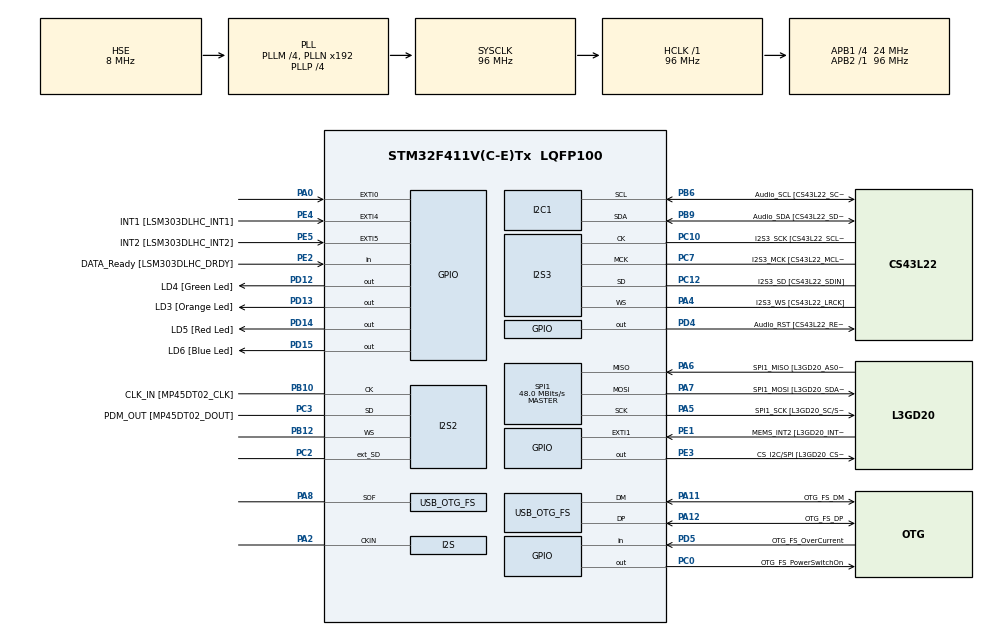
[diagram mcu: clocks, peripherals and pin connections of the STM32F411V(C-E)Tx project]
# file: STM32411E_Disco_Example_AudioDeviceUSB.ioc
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Dma.SPI3_TX.0.FIFOMode=DMA_FIFOMODE_DISABLE
Dma.SPI3_TX.0.Priority=DMA_PRIORITY_HIGH
PD12.GPIO_Label=LD4 [Green Led]
PC10.GPIO_PuPd=GPIO_NOPULL
SPI1.VirtualType=VM_MASTER
PB10.Mode=Full_Duplex_Master
PC12.Signal=I2S3_SD
PA14.GPIO_Label=SWCLK
PA6.GPIO_Label=SPI1_MISO [L3GD20_AS0/SDO]
PB6.GPIO_Label=Audio_SCL [CS43L22_SCL]
I2S2.CPOL=I2S_CPOL_HIGH
Dma.SPI2_RX.1.Mode=DMA_CIRCULAR
PC15-OSC32_OUT.GPIO_Label=PC15-OSC32_OUT
RCC.SYSCLKSource=RCC_SYSCLKSOURCE_PLLCLK
Dma.SPI2_RX.1.PeriphDataAlignment=DMA_PDATAALIGN_HALFWORD
PD14.GPIO_Speed=GPIO_SPEED_FREQ_LOW
PA4.Mode=Half_Duplex_Master
SPI1.Direction=SPI_DIRECTION_2LINES
USB_DEVICE.USBD_MAX_NUM_INTERFACES=2
PD4.Signal=GPIO_Output
RCC.APB2TimFreq_Value=96000000
PB6.Signal=I2C1_SCL
PC7.Signal=I2S3_MCK
PB6.Mode=I2C
SPI1.CalculateBaudRate=48.0 MBits/s
PC3.Signal=I2S2_SD
PE5.Signal=GPXTI5
PE1.Signal=GPXTI1
Dma.SPI3_TX.0.Direction=DMA_MEMORY_TO_PERIPH
I2S3.ErrorAudioFreq=0.15 %
Dma.SPI2_RX.1.FIFOMode=DMA_FIFOMODE_DISABLE
PE4.GPIO_Label=INT1 [LSM303DLHC_INT1]
PE2.Signal=GPIO_Input
PD14.GPIO_PuPd=GPIO_NOPULL
PA8.Signal=USB_OTG_FS_SOF
Mcu.Package=LQFP100
PB9.Signal=I2C1_SDA
PD12.Signal=GPIO_Output
PB9.GPIO_PuPd=GPIO_NOPULL
PA10.Signal=USB_OTG_FS_ID
Dma.SPI2_RX.1.Instance=DMA1_Stream3
RCC.APB1TimFreq_Value=48000000
PC12.GPIO_PuPd=GPIO_NOPULL
PA4.GPIO_Label=I2S3_WS [CS43L22_LRCK]
PD15.Signal=GPIO_Output
PC0.PinState=GPIO_PIN_SET
PA5.Mode=Full_Duplex_Master
I2S2.AudioFreq=I2S_AUDIOFREQ_16K
I2S3.FullDuplexMode=I2S_FULLDUPLEXMODE_DISABLE
PA9.GPIO_Label=VBUS_FS
PB6.GPIO_PuPd=GPIO_NOPULL
PH1\ -\ OSC_OUT.Mode=HSE-External-Oscillator
PC2.Signal=I2S2_ext_SD
PA11.GPIO_Label=OTG_FS_DM
PC0.Signal=GPIO_Output
RCC.APB1CLKDivider=RCC_HCLK_DIV4
PC14-OSC32_IN.Signal=RCC_OSC32_IN
PA0-WKUP.GPIO_ModeDefaultEXTI=GPIO_MODE_EVT_RISING
PA0-WKUP.Signal=GPXTI0
PC10.GPIO_Mode=GPIO_MODE_AF_PP
PE5.GPIO_ModeDefaultEXTI=GPIO_MODE_EVT_RISING
PA9.Signal=USB_OTG_FS_VBUS
I2S2.VirtualMode=I2S_MODE_MASTER
I2S3.VirtualMode=I2S_MODE_MASTER
Dma.SPI3_TX.0.PeriphInc=DMA_PINC_DISABLE
PC7.GPIO_PuPd=GPIO_NOPULL
PB10.Signal=I2S2_CK
PA5.Signal=SPI1_SCK
I2S3.AudioFreq=I2S_AUDIOFREQ_48K
PC12.Mode=Half_Duplex_Master
PH1\ -\ OSC_OUT.Signal=RCC_OSC_OUT
PE1.GPIO_Label=MEMS_INT2 [L3GD20_INT2]
SPI1.Mode=SPI_MODE_MASTER
Dma.SPI3_TX.0.Instance=DMA1_Stream5
PA13.Mode=Serial_Wire
I2S2.FullDuplexMode=I2S_FULLDUPLEXMODE_ENABLE
PC7.GPIO_Label=I2S3_MCK [CS43L22_MCLK]
PA4.Signal=I2S3_WS
PC12.GPIO_Mode=GPIO_MODE_AF_PP
PA5.GPIO_Label=SPI1_SCK [L3GD20_SC/SPC]
Dma.SPI3_TX.0.Mode=DMA_NORMAL
PE5.GPIO_Label=INT2 [LSM303DLHC_INT2]
PC12.GPIO_Label=I2S3_SD [CS43L22_SDIN]
PA11.Signal=USB_OTG_FS_DM
ProjectManager.HeapSize=0x200
NVIC.PriorityGroup=NVIC_PRIORITYGROUP_0
PE3.Signal=GPIO_Output
PC3.GPIO_Label=PDM_OUT [MP45DT02_DOUT]
PA8.Mode=Activate_SOF_FS
I2S3.Instance=SPI$Index
PB6.GPIO_Speed=GPIO_SPEED_FREQ_LOW
Dma.SPI2_RX.1.MemInc=DMA_MINC_ENABLE
Mcu.Family=STM32F4
PC3.Mode=Full_Duplex_Master
Dma.SPI3_TX.0.MemInc=DMA_MINC_ENABLE
PA6.Mode=Full_Duplex_Master
USB_DEVICE.CLASS_NAME_FS=AUDIO
Dma.SPI2_RX.1.MemDataAlignment=DMA_MDATAALIGN_HALFWORD
RCC.CortexFreq_Value=96000000
PB6.GPIO_Mode=GPIO_MODE_AF_OD
PD15.GPIO_Speed=GPIO_SPEED_FREQ_LOW
PC10.Signal=I2S3_CK
PC0.GPIO_Label=OTG_FS_PowerSwitchOn
PA11.Mode=Device_Only
PC10.GPIO_Speed=GPIO_SPEED_FREQ_LOW
Dma.SPI3_TX.0.PeriphDataAlignment=DMA_PDATAALIGN_HALFWORD
Dma.SPI2_RX.1.Direction=DMA_PERIPH_TO_MEMORY
ProjectManager.StackSize=0x400
PD13.Signal=GPIO_Output
PA12.Signal=USB_OTG_FS_DP
PH0\ -\ OSC_IN.Signal=RCC_OSC_IN
RCC.HCLKFreq_Value=96000000
RCC.AHBFreq_Value=96000000
RCC.HSE_VALUE=8000000
PA4.GPIO_PuPd=GPIO_NOPULL
PA4.GPIO_Speed=GPIO_SPEED_FREQ_LOW
PC14-OSC32_IN.Mode=LSE-External-Oscillator
PA14.Mode=Serial_Wire
PA10.GPIO_Label=OTG_FS_ID
PC7.GPIO_Mode=GPIO_MODE_AF_PP
NVIC.SPI2_IRQn=true\:0\:0\:false\:false\:true\:true\:true
PE4.Signal=GPXTI4
Dma.SPI3_TX.0.MemDataAlignment=DMA_MDATAALIGN_HALFWORD
PD13.GPIO_Label=LD3 [Orange Led]
PA6.Signal=SPI1_MISO
PB12.Mode=Full_Duplex_Master
PD5.GPIO_Label=OTG_FS_OverCurrent
NVIC.OTG_FS_IRQn=true\:0\:0\:false\:false\:true\:true\:true
PD15.GPIO_PuPd=GPIO_NOPULL
I2S2.Mode=I2S_MODE_MASTER_RX
USB_OTG_FS.VirtualMode=Device_Only
NVIC.SPI3_IRQn=true\:0\:0\:false\:false\:true\:true\:true
PB9.GPIO_Speed=GPIO_SPEED_FREQ_LOW
Dma.Request1=SPI2_RX
PC14-OSC32_IN.GPIO_Label=PC14-OSC32_IN
Dma.Request0=SPI3_TX
SPI1.BaudRatePrescaler=SPI_BAUDRATEPRESCALER_2
PE2.GPIO_Label=DATA_Ready [LSM303DLHC_DRDY]
PB3.GPIO_Label=SWO
PC15-OSC32_OUT.Mode=LSE-External-Oscillator
PD12.GPIO_Speed=GPIO_SPEED_FREQ_LOW
PD15.GPIO_Label=LD6 [Blue Led]
PA7.Mode=Full_Duplex_Master
I2S2.Instance=SPI$Index
PB9.GPIO_Label=Audio_SDA [CS43L22_SDA]
PC10.GPIO_Label=I2S3_SCK [CS43L22_SCLK]
USB_DEVICE.VirtualModeFS=Audio_FS
PC10.Mode=Half_Duplex_Master
PE4.GPIO_ModeDefaultEXTI=GPIO_MODE_EVT_RISING
PC2.Mode=Full_Duplex_Master
PD5.Signal=GPIO_Input
PE1.GPIO_ModeDefaultEXTI=GPIO_MODE_EVT_RISING
PA12.GPIO_Label=OTG_FS_DP
PA13.Signal=SYS_JTMS-SWDIO
PH0\ -\ OSC_IN.Mode=HSE-External-Oscillator
ProjectManager.TargetToolchain=SW4STM32
PB10.GPIO_Label=CLK_IN [MP45DT02_CLK]
NVIC.DMA1_Stream5_IRQn=true\:0\:0\:false\:false\:true\:false\:true
USB_DEVICE.USBD_AUDIO_FREQ=48000
PB9.Mode=I2C
PC15-OSC32_OUT.Signal=RCC_OSC32_OUT
board=STM32F411E-DISCO
PD13.GPIO_Speed=GPIO_SPEED_FREQ_LOW
PC7.GPIO_Speed=GPIO_SPEED_FREQ_LOW
RCC.VCOOutputFreq_Value=384000000
PB9.GPIO_Mode=GPIO_MODE_AF_OD
PA4.GPIO_Mode=GPIO_MODE_AF_PP
RCC.APB2Freq_Value=96000000
Dma.SPI2_RX.1.Priority=DMA_PRIORITY_HIGH
PD4.GPIO_Label=Audio_RST [CS43L22_RESET]
PD13.GPIO_PuPd=GPIO_NOPULL
PD14.GPIO_Label=LD5 [Red Led]
VP_USB_DEVICE_VS_USB_DEVICE_AUDIO_FS.Mode=AUDIO_FS
Mcu.Name=STM32F411V(C-E)Tx
Dma.SPI2_RX.1.PeriphInc=DMA_PINC_DISABLE
PA2.Signal=I2S_CKIN
PA13.GPIO_Label=SWDIO
PD14.Signal=GPIO_Output
PH1\ -\ OSC_OUT.GPIO_Label=PH1-OSC_OUT
RCC.48MHZClocksFreq_Value=48000000
PB3.Signal=SYS_JTDO-SWO
RCC.SYSCLKFreq_VALUE=96000000
PA7.GPIO_Label=SPI1_MOSI [L3GD20_SDA/SDI/SDO]
PA12.Mode=Device_Only
I2S2.ErrorAudioFreq=-0.16 %
PA14.Signal=SYS_JTCK-SWCLK
RCC.HSI_VALUE=16000000
RCC.PLLP=RCC_PLLP_DIV4
RCC.PLLQ=8
I2S3.RealAudioFreq=48.076 KHz
RCC.PLLM=4
PA2.Mode=Audio_ClockIn
PE3.GPIO_Label=CS_I2C/SPI [L3GD20_CS_I2C/SPI]
NVIC.DMA1_Stream3_IRQn=true\:0\:0\:false\:false\:true\:false\:true
PH0\ -\ OSC_IN.GPIO_Label=PH0-OSC_IN
PC7.Mode=Master_Clock_Activated
RCC.APB1Freq_Value=24000000
PC12.GPIO_Speed=GPIO_SPEED_FREQ_LOW
I2S2.RealAudioFreq=15.974 KHz
USB_DEVICE.VirtualMode=Audio
I2S2.Standard=I2S_STANDARD_LSB
RCC.PLLI2SN=200
PB12.Signal=I2S2_WS
PD12.GPIO_PuPd=GPIO_NOPULL
RCC.PLLI2SM=5
PA7.Signal=SPI1_MOSI

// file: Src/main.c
/* USER CODE BEGIN Header */
/**
  ******************************************************************************
  * @file           : main.c
  * @brief          : Main program body
  ******************************************************************************
  * @attention
  *
  * <h2><center>&copy; Copyright (c) 2020 STMicroelectronics.
  * All rights reserved.</center></h2>
  *
  * This software component is licensed by ST under Ultimate Liberty license
  * SLA0044, the "License"; You may not use this file except in compliance with
  * the License. You may obtain a copy of the License at:
  *                             www.st.com/SLA0044
  *
  ******************************************************************************
  */
/* USER CODE END Header */

#include "main.h"
#include "usb_device.h"

/* USER CODE BEGIN Includes */
#include "stm32f4xx_hal.h"
#include "../Drivers/BSP/STM32F411E-Discovery/stm32f411e_discovery.h"
#include "../Drivers/BSP/STM32F411E-Discovery/stm32f411e_discovery_accelerometer.h"
#include "../Drivers/BSP/STM32F411E-Discovery/stm32f411e_discovery_audio.h"
#include "../Middlewares/ST/STM32_USB_Device_Library/Core/Inc/usbd_core.h"
#include "../Middlewares/ST/STM32_USB_Device_Library/Class/AUDIO/Inc/usbd_audio.h"
#include "audio_device.h"
/* USER CODE END Includes */

I2C_HandleTypeDef hi2c1;

I2S_HandleTypeDef hi2s2;
I2S_HandleTypeDef hi2s3;
DMA_HandleTypeDef hdma_spi2_rx;
DMA_HandleTypeDef hdma_spi3_tx;

SPI_HandleTypeDef hspi1;

void SystemClock_Config(void);
static void MX_GPIO_Init(void);
static void MX_DMA_Init(void);
static void MX_I2C1_Init(void);
static void MX_I2S2_Init(void);
static void MX_I2S3_Init(void);
static void MX_SPI1_Init(void);

int main(void)
{

  /* MCU Configuration--------------------------------------------------------*/

  /* Reset of all peripherals, Initializes the Flash interface and the Systick. */
  HAL_Init();

  /* Configure the system clock */
  SystemClock_Config();

  /* USER CODE BEGIN SysInit */

  //BSP_AUDIO_OUT_Init(0, 0, 0);
  //BSP_AUDIO_IN_Init(0, 0, 1);
  //BSP_AUDIO_IN_PDMToPCM(NULL,NULL);
  /* USER CODE END SysInit */

  /* Initialize all configured peripherals */
  MX_GPIO_Init();
  MX_DMA_Init();
  MX_I2C1_Init();
  MX_I2S2_Init();
  MX_I2S3_Init();
  MX_SPI1_Init();
  //MX_USB_DEVICE_Init();
  /* USER CODE BEGIN 2 */
  BSP_PB_Init(BUTTON_KEY, BUTTON_MODE_GPIO);
  BSP_LED_Init(LED6);
  BSP_AUDIO_IN_Init(DEFAULT_AUDIO_IN_FREQ, DEFAULT_AUDIO_IN_BIT_RESOLUTION, DEFAULT_AUDIO_IN_CHANNEL_NBR);
  BSP_AUDIO_OUT_Init(OUTPUT_DEVICE_AUTO, 70, AUDIO_FREQUENCY_48K);
  InitAudioDevice();
  MX_USB_DEVICE_Init();
  /* USER CODE END 2 */

  /* Infinite loop */
  /* USER CODE BEGIN WHILE */
  volatile AudioSpeakerData_t* outData = GetAudioSpeakerData();
  volatile AudioMicrophoneData_t* inData = GetAudioMicrophoneData();
  int simpleDebouncingCount = 0;

  while (1)
  {
	if(simpleDebouncingCount >= 1) simpleDebouncingCount++;
	if(simpleDebouncingCount > 1000000) simpleDebouncingCount = 0;
	if(GPIO_PIN_SET == BSP_PB_GetState(BUTTON_KEY) && simpleDebouncingCount == 0) //simple debouncing
	{
		simpleDebouncingCount = 1;
		if(GetAudioMode() == AUDIO_MODE_SPEAKER)
		{
			SetAudioMode(AUDIO_MODE_MICROPHONE);
			BSP_LED_On(LED6);
			BSP_AUDIO_OUT_Stop(CODEC_PDWN_HW);
			BSP_AUDIO_IN_Init(DEFAULT_AUDIO_IN_FREQ, DEFAULT_AUDIO_IN_BIT_RESOLUTION, DEFAULT_AUDIO_IN_CHANNEL_NBR);
			__disable_irq();
			inData->frameToRecord = 1;
			inData->frameID = 1;
			inData->isFrameToConsume = false;
			inData->isFrameConsumed = false;
			__enable_irq();
			BSP_AUDIO_IN_Record((uint16_t*)inData->buffer, AUDIO_IN_SIZE*2);
		}else
		{
			SetAudioMode(AUDIO_MODE_SPEAKER);
			BSP_LED_Off(LED6);
			BSP_AUDIO_IN_Stop();
			BSP_AUDIO_OUT_Init(OUTPUT_DEVICE_HEADPHONE, 70, AUDIO_FREQUENCY_48K);
			USBD_AUDIO_Rerun();
			__disable_irq();
	  		outData->size = 0;
	  		outData->isFirstFrame = true;
	  		outData->isFrameConsumed = true;
	  		__enable_irq();
	  	}
	}

	if(GetAudioMode() == AUDIO_MODE_SPEAKER)
	{
		if(outData->size != 0 && outData->isFrameConsumed)
		{
			__disable_irq();
			outData->isFrameConsumed = false;
			uint16_t *ptr = (uint16_t*)outData->pbuff;
			if(GetAudioMode() == AUDIO_MODE_MICROPHONE) ptr = (uint16_t*)GetZeroData();
			if(outData->isFirstFrame)
			{
				BSP_AUDIO_OUT_Play(ptr, outData->size/2);
				outData->isFirstFrame  = false;
			}
			else BSP_AUDIO_OUT_ChangeBuffer(ptr, outData->size/2);
			outData->size = 0;
			__enable_irq();
		}
	}
    /* USER CODE END WHILE */

  }
}

void SystemClock_Config(void)
{
  RCC_OscInitTypeDef RCC_OscInitStruct = {0};
  RCC_ClkInitTypeDef RCC_ClkInitStruct = {0};
  RCC_PeriphCLKInitTypeDef PeriphClkInitStruct = {0};

  /** Configure the main internal regulator output voltage
  */
  __HAL_RCC_PWR_CLK_ENABLE();
  __HAL_PWR_VOLTAGESCALING_CONFIG(PWR_REGULATOR_VOLTAGE_SCALE1);
  /** Initializes the CPU, AHB and APB busses clocks
  */
  RCC_OscInitStruct.OscillatorType = RCC_OSCILLATORTYPE_HSE;
  RCC_OscInitStruct.HSEState = RCC_HSE_ON;
  RCC_OscInitStruct.PLL.PLLState = RCC_PLL_ON;
  RCC_OscInitStruct.PLL.PLLSource = RCC_PLLSOURCE_HSE;
  RCC_OscInitStruct.PLL.PLLM = 4;
  RCC_OscInitStruct.PLL.PLLN = 192;
  RCC_OscInitStruct.PLL.PLLP = RCC_PLLP_DIV4;
  RCC_OscInitStruct.PLL.PLLQ = 8;
  if (HAL_RCC_OscConfig(&RCC_OscInitStruct) != HAL_OK)
  {
    Error_Handler();
  }
  /** Initializes the CPU, AHB and APB busses clocks
  */
  RCC_ClkInitStruct.ClockType = RCC_CLOCKTYPE_HCLK|RCC_CLOCKTYPE_SYSCLK
                              |RCC_CLOCKTYPE_PCLK1|RCC_CLOCKTYPE_PCLK2;
  RCC_ClkInitStruct.SYSCLKSource = RCC_SYSCLKSOURCE_PLLCLK;
  RCC_ClkInitStruct.AHBCLKDivider = RCC_SYSCLK_DIV1;
  RCC_ClkInitStruct.APB1CLKDivider = RCC_HCLK_DIV4;
  RCC_ClkInitStruct.APB2CLKDivider = RCC_HCLK_DIV1;

  if (HAL_RCC_ClockConfig(&RCC_ClkInitStruct, FLASH_LATENCY_3) != HAL_OK)
  {
    Error_Handler();
  }
  PeriphClkInitStruct.PeriphClockSelection = RCC_PERIPHCLK_I2S;
  PeriphClkInitStruct.PLLI2S.PLLI2SN = 200;
  PeriphClkInitStruct.PLLI2S.PLLI2SM = 5;
  PeriphClkInitStruct.PLLI2S.PLLI2SR = 2;
  if (HAL_RCCEx_PeriphCLKConfig(&PeriphClkInitStruct) != HAL_OK)
  {
    Error_Handler();
  }
}

static void MX_I2C1_Init(void)
{

  hi2c1.Instance = I2C1;
  hi2c1.Init.ClockSpeed = 100000;
  hi2c1.Init.DutyCycle = I2C_DUTYCYCLE_2;
  hi2c1.Init.OwnAddress1 = 0;
  hi2c1.Init.AddressingMode = I2C_ADDRESSINGMODE_7BIT;
  hi2c1.Init.DualAddressMode = I2C_DUALADDRESS_DISABLE;
  hi2c1.Init.OwnAddress2 = 0;
  hi2c1.Init.GeneralCallMode = I2C_GENERALCALL_DISABLE;
  hi2c1.Init.NoStretchMode = I2C_NOSTRETCH_DISABLE;
  if (HAL_I2C_Init(&hi2c1) != HAL_OK)
  {
    Error_Handler();
  }

}

static void MX_I2S2_Init(void)
{

  hi2s2.Instance = SPI2;
  hi2s2.Init.Mode = I2S_MODE_MASTER_RX;
  hi2s2.Init.Standard = I2S_STANDARD_LSB;
  hi2s2.Init.DataFormat = I2S_DATAFORMAT_16B;
  hi2s2.Init.MCLKOutput = I2S_MCLKOUTPUT_DISABLE;
  hi2s2.Init.AudioFreq = I2S_AUDIOFREQ_16K;
  hi2s2.Init.CPOL = I2S_CPOL_HIGH;
  hi2s2.Init.ClockSource = I2S_CLOCK_PLL;
  hi2s2.Init.FullDuplexMode = I2S_FULLDUPLEXMODE_ENABLE;
  if (HAL_I2S_Init(&hi2s2) != HAL_OK)
  {
    Error_Handler();
  }

}

static void MX_I2S3_Init(void)
{

  hi2s3.Instance = SPI3;
  hi2s3.Init.Mode = I2S_MODE_MASTER_TX;
  hi2s3.Init.Standard = I2S_STANDARD_PHILIPS;
  hi2s3.Init.DataFormat = I2S_DATAFORMAT_16B;
  hi2s3.Init.MCLKOutput = I2S_MCLKOUTPUT_ENABLE;
  hi2s3.Init.AudioFreq = I2S_AUDIOFREQ_48K;
  hi2s3.Init.CPOL = I2S_CPOL_LOW;
  hi2s3.Init.ClockSource = I2S_CLOCK_PLL;
  hi2s3.Init.FullDuplexMode = I2S_FULLDUPLEXMODE_DISABLE;
  if (HAL_I2S_Init(&hi2s3) != HAL_OK)
  {
    Error_Handler();
  }

}

static void MX_SPI1_Init(void)
{

  /* SPI1 parameter configuration*/
  hspi1.Instance = SPI1;
  hspi1.Init.Mode = SPI_MODE_MASTER;
  hspi1.Init.Direction = SPI_DIRECTION_2LINES;
  hspi1.Init.DataSize = SPI_DATASIZE_8BIT;
  hspi1.Init.CLKPolarity = SPI_POLARITY_LOW;
  hspi1.Init.CLKPhase = SPI_PHASE_1EDGE;
  hspi1.Init.NSS = SPI_NSS_SOFT;
  hspi1.Init.BaudRatePrescaler = SPI_BAUDRATEPRESCALER_2;
  hspi1.Init.FirstBit = SPI_FIRSTBIT_MSB;
  hspi1.Init.TIMode = SPI_TIMODE_DISABLE;
  hspi1.Init.CRCCalculation = SPI_CRCCALCULATION_DISABLE;
  hspi1.Init.CRCPolynomial = 10;
  if (HAL_SPI_Init(&hspi1) != HAL_OK)
  {
    Error_Handler();
  }

}

static void MX_DMA_Init(void)
{

  /* DMA controller clock enable */
  __HAL_RCC_DMA1_CLK_ENABLE();

  /* DMA interrupt init */
  /* DMA1_Stream3_IRQn interrupt configuration */
  HAL_NVIC_SetPriority(DMA1_Stream3_IRQn, 0, 0);
  HAL_NVIC_EnableIRQ(DMA1_Stream3_IRQn);
  /* DMA1_Stream5_IRQn interrupt configuration */
  HAL_NVIC_SetPriority(DMA1_Stream5_IRQn, 0, 0);
  HAL_NVIC_EnableIRQ(DMA1_Stream5_IRQn);

}

static void MX_GPIO_Init(void)
{
  GPIO_InitTypeDef GPIO_InitStruct = {0};

  /* GPIO Ports Clock Enable */
  __HAL_RCC_GPIOE_CLK_ENABLE();
  __HAL_RCC_GPIOC_CLK_ENABLE();
  __HAL_RCC_GPIOH_CLK_ENABLE();
  __HAL_RCC_GPIOA_CLK_ENABLE();
  __HAL_RCC_GPIOB_CLK_ENABLE();
  __HAL_RCC_GPIOD_CLK_ENABLE();

  /*Configure GPIO pin Output Level */
  HAL_GPIO_WritePin(CS_I2C_SPI_GPIO_Port, CS_I2C_SPI_Pin, GPIO_PIN_RESET);

  /*Configure GPIO pin Output Level */
  HAL_GPIO_WritePin(OTG_FS_PowerSwitchOn_GPIO_Port, OTG_FS_PowerSwitchOn_Pin, GPIO_PIN_SET);

  /*Configure GPIO pin Output Level */
  HAL_GPIO_WritePin(GPIOD, LD4_Pin|LD3_Pin|LD5_Pin|LD6_Pin
                          |Audio_RST_Pin, GPIO_PIN_RESET);

  /*Configure GPIO pin : DATA_Ready_Pin */
  GPIO_InitStruct.Pin = DATA_Ready_Pin;
  GPIO_InitStruct.Mode = GPIO_MODE_INPUT;
  GPIO_InitStruct.Pull = GPIO_NOPULL;
  HAL_GPIO_Init(DATA_Ready_GPIO_Port, &GPIO_InitStruct);

  /*Configure GPIO pin : CS_I2C_SPI_Pin */
  GPIO_InitStruct.Pin = CS_I2C_SPI_Pin;
  GPIO_InitStruct.Mode = GPIO_MODE_OUTPUT_PP;
  GPIO_InitStruct.Pull = GPIO_NOPULL;
  GPIO_InitStruct.Speed = GPIO_SPEED_FREQ_LOW;
  HAL_GPIO_Init(CS_I2C_SPI_GPIO_Port, &GPIO_InitStruct);

  /*Configure GPIO pins : INT1_Pin INT2_Pin MEMS_INT2_Pin */
  GPIO_InitStruct.Pin = INT1_Pin|INT2_Pin|MEMS_INT2_Pin;
  GPIO_InitStruct.Mode = GPIO_MODE_EVT_RISING;
  GPIO_InitStruct.Pull = GPIO_NOPULL;
  HAL_GPIO_Init(GPIOE, &GPIO_InitStruct);

  /*Configure GPIO pin : OTG_FS_PowerSwitchOn_Pin */
  GPIO_InitStruct.Pin = OTG_FS_PowerSwitchOn_Pin;
  GPIO_InitStruct.Mode = GPIO_MODE_OUTPUT_PP;
  GPIO_InitStruct.Pull = GPIO_NOPULL;
  GPIO_InitStruct.Speed = GPIO_SPEED_FREQ_LOW;
  HAL_GPIO_Init(OTG_FS_PowerSwitchOn_GPIO_Port, &GPIO_InitStruct);

  /*Configure GPIO pin : PA0 */
  GPIO_InitStruct.Pin = GPIO_PIN_0;
  GPIO_InitStruct.Mode = GPIO_MODE_EVT_RISING;
  GPIO_InitStruct.Pull = GPIO_NOPULL;
  HAL_GPIO_Init(GPIOA, &GPIO_InitStruct);

  /*Configure GPIO pin : PA2 */
  GPIO_InitStruct.Pin = GPIO_PIN_2;
  GPIO_InitStruct.Mode = GPIO_MODE_AF_PP;
  GPIO_InitStruct.Pull = GPIO_NOPULL;
  GPIO_InitStruct.Speed = GPIO_SPEED_FREQ_LOW;
  GPIO_InitStruct.Alternate = GPIO_AF5_SPI1;
  HAL_GPIO_Init(GPIOA, &GPIO_InitStruct);

  /*Configure GPIO pins : LD4_Pin LD3_Pin LD5_Pin LD6_Pin
                           Audio_RST_Pin */
  GPIO_InitStruct.Pin = LD4_Pin|LD3_Pin|LD5_Pin|LD6_Pin
                          |Audio_RST_Pin;
  GPIO_InitStruct.Mode = GPIO_MODE_OUTPUT_PP;
  GPIO_InitStruct.Pull = GPIO_NOPULL;
  GPIO_InitStruct.Speed = GPIO_SPEED_FREQ_LOW;
  HAL_GPIO_Init(GPIOD, &GPIO_InitStruct);

  /*Configure GPIO pin : OTG_FS_OverCurrent_Pin */
  GPIO_InitStruct.Pin = OTG_FS_OverCurrent_Pin;
  GPIO_InitStruct.Mode = GPIO_MODE_INPUT;
  GPIO_InitStruct.Pull = GPIO_NOPULL;
  HAL_GPIO_Init(OTG_FS_OverCurrent_GPIO_Port, &GPIO_InitStruct);

}

void Error_Handler(void)
{
}

/************************ (C) COPYRIGHT STMicroelectronics *****END OF FILE****/
